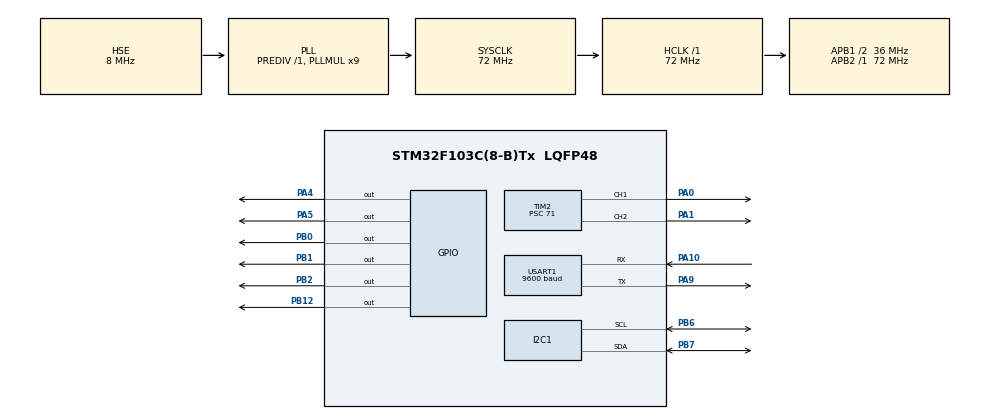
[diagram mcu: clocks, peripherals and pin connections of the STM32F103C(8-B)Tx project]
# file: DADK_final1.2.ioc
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Dma.Request0=USART1_TX
Dma.Request1=USART1_RX
Dma.USART1_RX.1.Direction=DMA_PERIPH_TO_MEMORY
Dma.USART1_RX.1.Instance=DMA1_Channel5
Dma.USART1_RX.1.MemDataAlignment=DMA_MDATAALIGN_BYTE
Dma.USART1_RX.1.MemInc=DMA_MINC_ENABLE
Dma.USART1_RX.1.Mode=DMA_NORMAL
Dma.USART1_RX.1.PeriphDataAlignment=DMA_PDATAALIGN_BYTE
Dma.USART1_RX.1.PeriphInc=DMA_PINC_DISABLE
Dma.USART1_RX.1.Priority=DMA_PRIORITY_LOW
Dma.USART1_TX.0.Direction=DMA_MEMORY_TO_PERIPH
Dma.USART1_TX.0.Instance=DMA1_Channel4
Dma.USART1_TX.0.MemDataAlignment=DMA_MDATAALIGN_BYTE
Dma.USART1_TX.0.MemInc=DMA_MINC_ENABLE
Dma.USART1_TX.0.Mode=DMA_NORMAL
Dma.USART1_TX.0.PeriphDataAlignment=DMA_PDATAALIGN_BYTE
Dma.USART1_TX.0.PeriphInc=DMA_PINC_DISABLE
Dma.USART1_TX.0.Priority=DMA_PRIORITY_LOW
I2C1.I2C_Mode=I2C_Fast
Mcu.Family=STM32F1
Mcu.Name=STM32F103C(8-B)Tx
Mcu.Package=LQFP48
NVIC.DMA1_Channel4_IRQn=true\:0\:0\:false\:false\:true\:false\:true\:true
NVIC.DMA1_Channel5_IRQn=true\:0\:0\:false\:false\:true\:false\:true\:true
NVIC.I2C1_EV_IRQn=true\:0\:0\:false\:false\:true\:true\:true\:true
NVIC.PriorityGroup=NVIC_PRIORITYGROUP_4
NVIC.TIM4_IRQn=true\:0\:0\:false\:false\:true\:true\:true\:true
NVIC.USART1_IRQn=true\:0\:0\:false\:false\:true\:false\:true\:true
PA0-WKUP.Signal=S_TIM2_CH1_ETR
PA1.Signal=S_TIM2_CH2
PA10.Mode=Asynchronous
PA10.Signal=USART1_RX
PA13.Mode=Serial_Wire
PA13.Signal=SYS_JTMS-SWDIO
PA14.Mode=Serial_Wire
PA14.Signal=SYS_JTCK-SWCLK
PA4.Signal=GPIO_Output
PA5.Signal=GPIO_Output
PA9.Mode=Asynchronous
PA9.Signal=USART1_TX
PB0.Signal=GPIO_Output
PB1.Signal=GPIO_Output
PB12.Signal=GPIO_Output
PB2.Signal=GPIO_Output
PB6.Mode=I2C
PB6.Signal=I2C1_SCL
PB7.Mode=I2C
PB7.Signal=I2C1_SDA
PD0-OSC_IN.Mode=HSE-External-Oscillator
PD0-OSC_IN.Signal=RCC_OSC_IN
PD1-OSC_OUT.Mode=HSE-External-Oscillator
PD1-OSC_OUT.Signal=RCC_OSC_OUT
ProjectManager.HeapSize=0x200
ProjectManager.StackSize=0x400
ProjectManager.TargetToolchain=STM32CubeIDE
RCC.AHBFreq_Value=72000000
RCC.APB1CLKDivider=RCC_HCLK_DIV2
RCC.APB1Freq_Value=36000000
RCC.APB1TimFreq_Value=72000000
RCC.APB2Freq_Value=72000000
RCC.APB2TimFreq_Value=72000000
RCC.HCLKFreq_Value=72000000
RCC.PLLMUL=RCC_PLL_MUL9
RCC.PLLSourceVirtual=RCC_PLLSOURCE_HSE
RCC.SYSCLKFreq_VALUE=72000000
RCC.SYSCLKSource=RCC_SYSCLKSOURCE_PLLCLK
RCC.USBFreq_Value=72000000
SH.S_TIM2_CH1_ETR.0=TIM2_CH1,PWM Generation1 CH1
SH.S_TIM2_CH2.0=TIM2_CH2,PWM Generation2 CH2
TIM2.Channel-PWM\ Generation1\ CH1=TIM_CHANNEL_1
TIM2.Channel-PWM\ Generation2\ CH2=TIM_CHANNEL_2
TIM2.Period=1999
TIM2.Prescaler=71
TIM4.Period=9999
TIM4.Prescaler=71
USART1.BaudRate=9600
USART1.VirtualMode=VM_ASYNC
VP_TIM2_VS_ClockSourceINT.Mode=Internal
VP_TIM4_VS_ClockSourceINT.Mode=Internal
board=custom

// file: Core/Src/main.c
/* USER CODE BEGIN Header */
/**
  ******************************************************************************
  * @file           : main.c
  * @brief          : Main program body
  ******************************************************************************
  * @attention
  *
  * Copyright (c) 2026 STMicroelectronics.
  * All rights reserved.
  *
  * This software is licensed under terms that can be found in the LICENSE file
  * in the root directory of this software component.
  * If no LICENSE file comes with this software, it is provided AS-IS.
  *
  ******************************************************************************
  */
/* USER CODE END Header */
#include "main.h"

/* USER CODE BEGIN Includes */
#include "stdio.h"
#include "string.h"
#include "pid.h"
#include "motor.h"
#include "debug_uart.h"
#include "mpu6050.h"

/* USER CODE END Includes */

/* USER CODE BEGIN PTD */
#define DT 0.01
#define PID_MAX  2000
#define PID_MIN -2000
/* USER CODE END PTD */

I2C_HandleTypeDef hi2c1;

TIM_HandleTypeDef htim2;
TIM_HandleTypeDef htim4;

UART_HandleTypeDef huart1;
DMA_HandleTypeDef hdma_usart1_tx;
DMA_HandleTypeDef hdma_usart1_rx;

void SystemClock_Config(void);
static void MX_GPIO_Init(void);
static void MX_DMA_Init(void);
static void MX_I2C1_Init(void);
static void MX_USART1_UART_Init(void);
static void MX_TIM2_Init(void);
static void MX_TIM4_Init(void);

/* USER CODE BEGIN 0 */
void HAL_TIM_PeriodElapsedCallback(TIM_HandleTypeDef *htim);
void HAL_I2C_MasterRxCpltCallback(I2C_HandleTypeDef *hi2c);
void HAL_UART_RxCpltCallback(UART_HandleTypeDef *huart);

typedef struct
{
	uint8_t tim4;
	uint8_t i2c ;
	uint8_t uart;
}flag_t;
volatile flag_t flag1 ={0};
uint8_t rx_data;

/* USER CODE END 0 */

int main(void)
{

  /* USER CODE BEGIN 1 */
	flag1.tim4 =0;
	flag1.i2c  =0;
	flag1.uart =0;
  /* USER CODE END 1 */

  /* MCU Configuration--------------------------------------------------------*/

  /* Reset of all peripherals, Initializes the Flash interface and the Systick. */
  HAL_Init();

  /* Configure the system clock */
  SystemClock_Config();

  /* Initialize all configured peripherals */
  MX_GPIO_Init();
  MX_DMA_Init();
  MX_I2C1_Init();
  MX_USART1_UART_Init();
  MX_TIM2_Init();
  MX_TIM4_Init();
  /* USER CODE BEGIN 2 */

  pid_typedef pid1;
  MPU6050_t mpudata;

  LOG_Init(&huart1);
  MPU6050_Init(&hi2c1);

  float P =15.0;
  float I = 0.0;
  float D = 0.0;

  PID_Init(&pid1,P,I,D, DT, PID_MIN, PID_MAX);

  HAL_TIM_Base_Start_IT(&htim4);
  /* USER CODE END 2 */

  /* Infinite loop */
  /* USER CODE BEGIN WHILE */
  float pwm;
  uint32_t checktime=0;
  int16_t log;

//  motor_init(&htim2);
  HAL_UART_Receive_DMA(&huart1, &rx_data, 1);
  while (1)
  {
	  if(flag1.tim4 == 1)
	  {
		  flag1.tim4 =0;
		  MPU6050_Read_All(&hi2c1, &mpudata);
		  flag1.i2c = 1;
	  }
	  if(flag1.i2c  == 1)
	  {
		  flag1.i2c = 0;
		  pwm = PID_Calculate(&pid1, mpudata.KalmanAngleY, -2.0);
		  log = motor_run(pwm);
	  }
	  if(flag1.uart)
	  {
		  flag1.uart =0;
		  //
		  switch (rx_data)
		  {
		  case 'P':
			  P+=1  ;
			  break;
		  case 'I':
			  I+=0.1;
			  break;
		  case 'D':
			  D+=0.5;
			  break;
		  case 'A':
			  P-=1  ;
			  break;
		  case 'B':
			  I-=0.1;
			  break;
		  case 'C':
			  D-=0.5;
			  break;
		  }
		  PID_Init(&pid1,P,I,D, DT, PID_MIN, PID_MAX);
		  LOG_Printf("P=%.2f-I=%.2f-D=%.2f\r\n",P,I,D);
	  }
	  if(HAL_GetTick() - checktime >=1000)
	  {
		  checktime = HAL_GetTick();
		  LOG_Printf("pwm=%.0f - angle=%.2f\r\n",pwm,mpudata.KalmanAngleY);
	  }

    /* USER CODE END WHILE */

  }
}

void SystemClock_Config(void)
{
  RCC_OscInitTypeDef RCC_OscInitStruct = {0};
  RCC_ClkInitTypeDef RCC_ClkInitStruct = {0};

  /** Initializes the RCC Oscillators according to the specified parameters
  * in the RCC_OscInitTypeDef structure.
  */
  RCC_OscInitStruct.OscillatorType = RCC_OSCILLATORTYPE_HSE;
  RCC_OscInitStruct.HSEState = RCC_HSE_ON;
  RCC_OscInitStruct.HSEPredivValue = RCC_HSE_PREDIV_DIV1;
  RCC_OscInitStruct.HSIState = RCC_HSI_ON;
  RCC_OscInitStruct.PLL.PLLState = RCC_PLL_ON;
  RCC_OscInitStruct.PLL.PLLSource = RCC_PLLSOURCE_HSE;
  RCC_OscInitStruct.PLL.PLLMUL = RCC_PLL_MUL9;
  if (HAL_RCC_OscConfig(&RCC_OscInitStruct) != HAL_OK)
  {
    Error_Handler();
  }

  /** Initializes the CPU, AHB and APB buses clocks
  */
  RCC_ClkInitStruct.ClockType = RCC_CLOCKTYPE_HCLK|RCC_CLOCKTYPE_SYSCLK
                              |RCC_CLOCKTYPE_PCLK1|RCC_CLOCKTYPE_PCLK2;
  RCC_ClkInitStruct.SYSCLKSource = RCC_SYSCLKSOURCE_PLLCLK;
  RCC_ClkInitStruct.AHBCLKDivider = RCC_SYSCLK_DIV1;
  RCC_ClkInitStruct.APB1CLKDivider = RCC_HCLK_DIV2;
  RCC_ClkInitStruct.APB2CLKDivider = RCC_HCLK_DIV1;

  if (HAL_RCC_ClockConfig(&RCC_ClkInitStruct, FLASH_LATENCY_2) != HAL_OK)
  {
    Error_Handler();
  }
}

static void MX_I2C1_Init(void)
{

  hi2c1.Instance = I2C1;
  hi2c1.Init.ClockSpeed = 400000;
  hi2c1.Init.DutyCycle = I2C_DUTYCYCLE_2;
  hi2c1.Init.OwnAddress1 = 0;
  hi2c1.Init.AddressingMode = I2C_ADDRESSINGMODE_7BIT;
  hi2c1.Init.DualAddressMode = I2C_DUALADDRESS_DISABLE;
  hi2c1.Init.OwnAddress2 = 0;
  hi2c1.Init.GeneralCallMode = I2C_GENERALCALL_DISABLE;
  hi2c1.Init.NoStretchMode = I2C_NOSTRETCH_DISABLE;
  if (HAL_I2C_Init(&hi2c1) != HAL_OK)
  {
    Error_Handler();
  }

}

static void MX_TIM2_Init(void)
{

  TIM_ClockConfigTypeDef sClockSourceConfig = {0};
  TIM_MasterConfigTypeDef sMasterConfig = {0};
  TIM_OC_InitTypeDef sConfigOC = {0};

  htim2.Instance = TIM2;
  htim2.Init.Prescaler = 71;
  htim2.Init.CounterMode = TIM_COUNTERMODE_UP;
  htim2.Init.Period = 1999;
  htim2.Init.ClockDivision = TIM_CLOCKDIVISION_DIV1;
  htim2.Init.AutoReloadPreload = TIM_AUTORELOAD_PRELOAD_DISABLE;
  if (HAL_TIM_Base_Init(&htim2) != HAL_OK)
  {
    Error_Handler();
  }
  sClockSourceConfig.ClockSource = TIM_CLOCKSOURCE_INTERNAL;
  if (HAL_TIM_ConfigClockSource(&htim2, &sClockSourceConfig) != HAL_OK)
  {
    Error_Handler();
  }
  if (HAL_TIM_PWM_Init(&htim2) != HAL_OK)
  {
    Error_Handler();
  }
  sMasterConfig.MasterOutputTrigger = TIM_TRGO_RESET;
  sMasterConfig.MasterSlaveMode = TIM_MASTERSLAVEMODE_DISABLE;
  if (HAL_TIMEx_MasterConfigSynchronization(&htim2, &sMasterConfig) != HAL_OK)
  {
    Error_Handler();
  }
  sConfigOC.OCMode = TIM_OCMODE_PWM1;
  sConfigOC.Pulse = 0;
  sConfigOC.OCPolarity = TIM_OCPOLARITY_HIGH;
  sConfigOC.OCFastMode = TIM_OCFAST_DISABLE;
  if (HAL_TIM_PWM_ConfigChannel(&htim2, &sConfigOC, TIM_CHANNEL_1) != HAL_OK)
  {
    Error_Handler();
  }
  if (HAL_TIM_PWM_ConfigChannel(&htim2, &sConfigOC, TIM_CHANNEL_2) != HAL_OK)
  {
    Error_Handler();
  }
  HAL_TIM_MspPostInit(&htim2);

}

static void MX_TIM4_Init(void)
{

  TIM_ClockConfigTypeDef sClockSourceConfig = {0};
  TIM_MasterConfigTypeDef sMasterConfig = {0};

  htim4.Instance = TIM4;
  htim4.Init.Prescaler = 71;
  htim4.Init.CounterMode = TIM_COUNTERMODE_UP;
  htim4.Init.Period = 9999;
  htim4.Init.ClockDivision = TIM_CLOCKDIVISION_DIV1;
  htim4.Init.AutoReloadPreload = TIM_AUTORELOAD_PRELOAD_DISABLE;
  if (HAL_TIM_Base_Init(&htim4) != HAL_OK)
  {
    Error_Handler();
  }
  sClockSourceConfig.ClockSource = TIM_CLOCKSOURCE_INTERNAL;
  if (HAL_TIM_ConfigClockSource(&htim4, &sClockSourceConfig) != HAL_OK)
  {
    Error_Handler();
  }
  sMasterConfig.MasterOutputTrigger = TIM_TRGO_RESET;
  sMasterConfig.MasterSlaveMode = TIM_MASTERSLAVEMODE_DISABLE;
  if (HAL_TIMEx_MasterConfigSynchronization(&htim4, &sMasterConfig) != HAL_OK)
  {
    Error_Handler();
  }

}

static void MX_USART1_UART_Init(void)
{

  huart1.Instance = USART1;
  huart1.Init.BaudRate = 9600;
  huart1.Init.WordLength = UART_WORDLENGTH_8B;
  huart1.Init.StopBits = UART_STOPBITS_1;
  huart1.Init.Parity = UART_PARITY_NONE;
  huart1.Init.Mode = UART_MODE_TX_RX;
  huart1.Init.HwFlowCtl = UART_HWCONTROL_NONE;
  huart1.Init.OverSampling = UART_OVERSAMPLING_16;
  if (HAL_UART_Init(&huart1) != HAL_OK)
  {
    Error_Handler();
  }

}

static void MX_DMA_Init(void)
{

  /* DMA controller clock enable */
  __HAL_RCC_DMA1_CLK_ENABLE();

  /* DMA interrupt init */
  /* DMA1_Channel4_IRQn interrupt configuration */
  HAL_NVIC_SetPriority(DMA1_Channel4_IRQn, 0, 0);
  HAL_NVIC_EnableIRQ(DMA1_Channel4_IRQn);
  /* DMA1_Channel5_IRQn interrupt configuration */
  HAL_NVIC_SetPriority(DMA1_Channel5_IRQn, 0, 0);
  HAL_NVIC_EnableIRQ(DMA1_Channel5_IRQn);

}

static void MX_GPIO_Init(void)
{
  GPIO_InitTypeDef GPIO_InitStruct = {0};

  /* GPIO Ports Clock Enable */
  __HAL_RCC_GPIOD_CLK_ENABLE();
  __HAL_RCC_GPIOA_CLK_ENABLE();
  __HAL_RCC_GPIOB_CLK_ENABLE();

  /*Configure GPIO pin Output Level */
  HAL_GPIO_WritePin(GPIOA, GPIO_PIN_4|GPIO_PIN_5, GPIO_PIN_RESET);

  /*Configure GPIO pin Output Level */
  HAL_GPIO_WritePin(GPIOB, GPIO_PIN_0|GPIO_PIN_1|GPIO_PIN_2|GPIO_PIN_12, GPIO_PIN_RESET);

  /*Configure GPIO pins : PA4 PA5 */
  GPIO_InitStruct.Pin = GPIO_PIN_4|GPIO_PIN_5;
  GPIO_InitStruct.Mode = GPIO_MODE_OUTPUT_PP;
  GPIO_InitStruct.Pull = GPIO_NOPULL;
  GPIO_InitStruct.Speed = GPIO_SPEED_FREQ_LOW;
  HAL_GPIO_Init(GPIOA, &GPIO_InitStruct);

  /*Configure GPIO pins : PB0 PB1 PB2 PB12 */
  GPIO_InitStruct.Pin = GPIO_PIN_0|GPIO_PIN_1|GPIO_PIN_2|GPIO_PIN_12;
  GPIO_InitStruct.Mode = GPIO_MODE_OUTPUT_PP;
  GPIO_InitStruct.Pull = GPIO_NOPULL;
  GPIO_InitStruct.Speed = GPIO_SPEED_FREQ_LOW;
  HAL_GPIO_Init(GPIOB, &GPIO_InitStruct);

}

/* USER CODE BEGIN 4 */
void HAL_TIM_PeriodElapsedCallback(TIM_HandleTypeDef *htim)
{
	flag1.tim4 =1;
}
void HAL_I2C_MasterRxCpltCallback(I2C_HandleTypeDef *hi2c)
{
	HAL_GPIO_TogglePin(GPIOB, GPIO_PIN_12);
}
void HAL_UART_RxCpltCallback(UART_HandleTypeDef *huart)
{
	flag1.uart =1;
	HAL_UART_Receive_DMA(&huart1, &rx_data, 1);
}
/* USER CODE END 4 */

void Error_Handler(void)
{
  __disable_irq();
  while (1)
  {
  }
}
